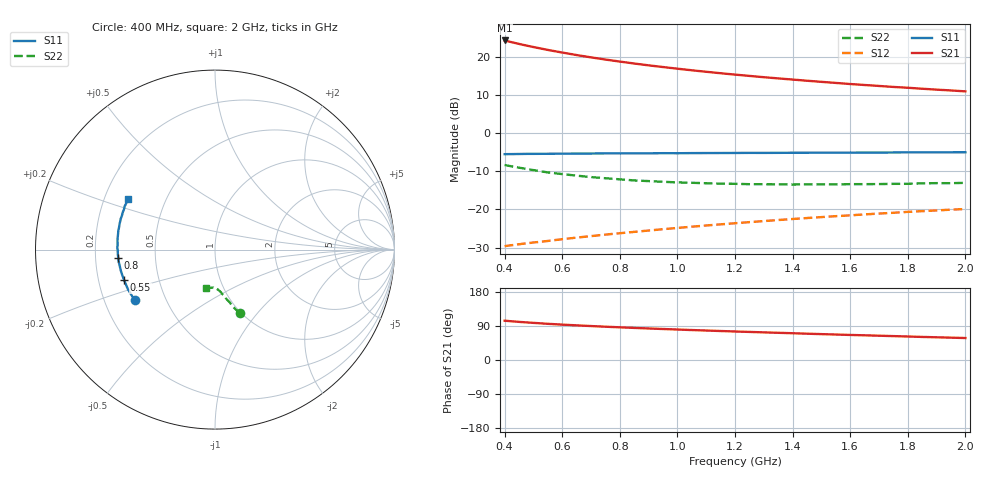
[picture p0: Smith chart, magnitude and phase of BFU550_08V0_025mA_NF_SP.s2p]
! Filename:  P:\Prog\Test\Noise\ATS_data\Testdata_Net\06 Compressed Noise after Statistics\BFU550_APG2013_43_D05_08p0V_025mA_NF_CM01_D.sf
! Date/Time: Fri 26/Apr/2013 13:07:23
! BFU550_APG2013_43_D05_08p0V_1to35mA_NF_CM01_Bias7_R.sf
! Noise Parameter Data File
! BFU550_APG2013_43_D05_08p0V_1to35mA_NF_CM01
! Date/time: Thu Apr 25 17:34:01 2013
! VAR V_out= 8.001000
! VAR I_out= 24.990000
! VAR V_in= 0.806700
! VAR I_in= 0.262700
! Device data file deembeded for feedlines and parallel
! Original file: \06 Compressed Noise after Statistics\BFU550_APG2013_43_D05_08p0V_025mA_NF_CM01_R.sf
! Feed-files: PR047V01_250413_Feed1.s2p, PR047V01_250413_Feed2.s2p
! Parallel-file: PR047V01_250413_Par.s2p
# MHz S MA R 50
!  Freq-MHz  S11-mag  S11-arg  S21-mag  S21-arg  S12-mag  S12-arg  S22-mag  S22-arg
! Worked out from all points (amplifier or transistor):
!   37 points, 400 MHz to 2 GHz, reference 50 ohm
!   highest |S21| = 24.2 dB at 400 MHz (marker M1)
!   |S21| within 3 dB of that: start of sweep to 588 MHz
!   unconditionally stable (mu >= 1): 1.263 GHz to end of sweep
!   at 500 MHz: K = 0.73, MSG = 25.6 dB, |S12| = -28.7 dB
!   at 1.1 GHz: K = 0.97, MSG = 20.1 dB, |S12| = -24.2 dB
!   at 2 GHz: K = 1.05, MAG = 14.0 dB, |S12| = -19.9 dB
!   lowest NFmin = 1.10 dB at 480 MHz
!   S11 on the Smith chart (normalised r, x): 400 MHz: 0.33, -0.26; 550 MHz: 0.31, -0.15; 800 MHz: 0.30, -0.04; 2 GHz: 0.30, +0.25
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400  0.5282 -148.0  16.29 103.7  0.03295 52.2  0.3811 -68.6
433  0.5297 -151.5  15.19 101.6  0.03429 52.5  0.3604 -70.2
460  0.5315 -154.1  14.39 100.1  0.0353 52.7  0.3464 -71.4
480  0.533 -155.8  13.86 99.0  0.03604 52.9  0.3356 -72.2
500  0.533 -157.5  13.35 98.0  0.03682 53.1  0.3267 -73.0
550  0.5341 -161.4  12.24 95.5  0.03857 54.0  0.3044 -74.5
600  0.536 -164.7  11.31 93.4  0.04065 54.5  0.2896 -76.1
650  0.5379 -167.7  10.49 91.4  0.04266 55.1  0.2763 -77.6
700  0.5384 -170.1  9.78 89.6  0.04461 55.7  0.2647 -78.6
750  0.5408 -172.8  9.161 87.9  0.04669 56.2  0.2556 -79.9
800  0.5407 -175.1  8.616 86.2  0.04869 56.7  0.2473 -81.2
850  0.542 -177.2  8.126 84.7  0.05069 57.2  0.2391 -82.1
900  0.5418 -179.4  7.687 83.2  0.05281 57.6  0.2345 -83.2
950  0.5443 178.8  7.306 81.8  0.05497 58.0  0.2295 -84.3
1050  0.5453 175.1  6.626 79.0  0.05927 58.5  0.2229 -86.2
1150  0.5466 171.9  6.062 76.5  0.06363 58.9  0.217 -87.9
1200  0.5475 170.2  5.815 75.2  0.06576 59.0  0.216 -89.0
1350  0.5494 165.9  5.186 71.8  0.07245 59.3  0.2128 -91.6
1500  0.5528 161.7  4.675 68.3  0.07918 59.2  0.2129 -94.3
1600  0.5531 158.9  4.377 66.1  0.08349 59.0  0.2139 -96.0
1750  0.5555 155.3  4.01 63.0  0.0902 58.8  0.2158 -98.9
2000  0.5598 149.8  3.508 58.0  0.101 58.0  0.2225 -103.2
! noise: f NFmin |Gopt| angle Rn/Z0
400  1.153  0.2909  -174.1  0.0822
460  1.116  0.3306  -172.8  0.0683
600  1.105  0.3307  -170.3  0.07
800  1.172  0.3435  -168.3  0.0695
1000  1.162  0.3526  -165.1  0.0712
1200  1.237  0.3604  -162.1  0.073
1400  1.263  0.3642  -159.7  0.0778
1600  1.3  0.3688  -154.9  0.0853
1800  1.249  0.3848  -154.2  0.0868
2000  1.369  0.3841  -150.1  0.0976
